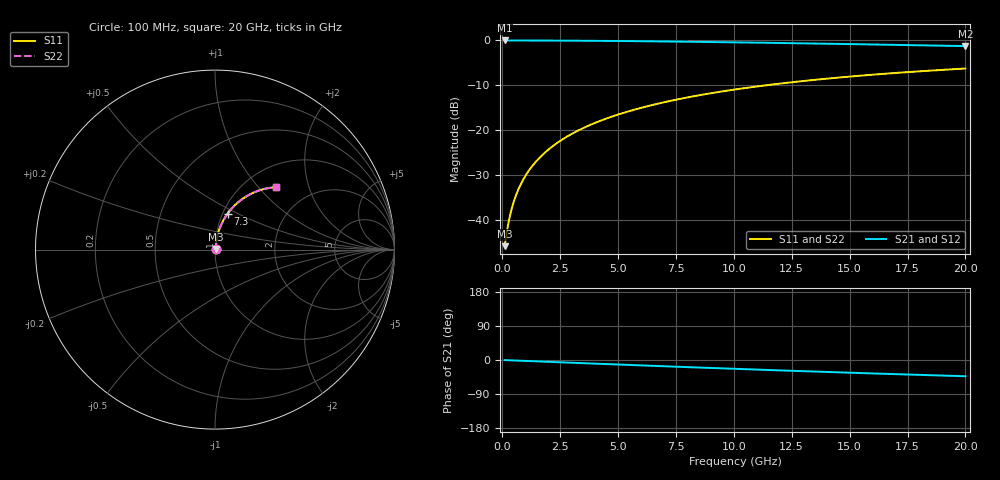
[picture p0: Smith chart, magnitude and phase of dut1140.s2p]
! Touchstone file exported from HFSS 2026.1.0
!  File:  C:/ffzhzh/LocalFiles/Ansys_Project_Files/temp_train_BSMRDL_1140_1783175452_51560.aedt
!  Generated:  10:32:05 PM Jul  4, 2026
!  Design:  BSMRDL
!  Project:  temp_train_BSMRDL_1140_1783175452_51560
! Variables:
!  h_bsmrdl = 3.72um
!  h_ox = 20um
!  h_rdl = 5um
!  h_sub = 80um
!  h_tmrdl = 5um
!  h_tsv = 80um
!  h_via = 3um
!  l_bsmrdl = 553.95um
!  l_sub = 953.95um
!  l_tmrdl = 200um
!  m_sub = 200um
!  pitch = 51.57um
!  r_tsv = 6um
!  s_tmrdl = 10um
!  w_bsmrdl = 13.29um
!  w_sub = 500um
!  w_tmrdl = 12um
!  x_tsv_center1 = 206um
!  x_tsv_center2 = 773.24um
!  x_tsv_center3 = 985.24um
!  x_tsv_center4 = 1552.48um
!  x_tsv_center5 = 1764.48um
!  x_tsv_center6 = 2331.72um
# GHz S MA R 50.000000
! Terminal data exported
! Port[1] = BSM_RDL1_1_T1
! Port[2] = BSM_RDL1_1_T2
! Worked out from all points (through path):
!   200 points, 100 MHz to 20 GHz, reference 50 ohm
!   highest |S21| = -0.04 dB at 100 MHz (marker M1); lowest = -1.3 dB at 20 GHz (marker M2)
!   group delay of S21, straight-line fit = 5.97 ps
!   lowest |S11| = -45.8 dB at 100 MHz (marker M3), VSWR 1.01, Z = 50.4 + j0.319 ohm
!   |S11| at or under -10 dB: start of sweep to 11.39 GHz
!   |S22| runs from -45.8 to -6.3 dB; largest |S21 - S12| = 2.8e-15
!   S11 on the Smith chart (normalised r, x): 100 MHz: 1.01, +0.01; 7.3 GHz: 1.06, +0.45; 20 GHz: 1.37, +1.25
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0.1  0.005147 38.0  0.996 -0.2  0.996 -0.2  0.005147 38.0
! Gamma 0 0 0 0
! Port Impedance 50 0 50 0
0.2  0.007558 56.6  0.9959 -0.5  0.9959 -0.5  0.007558 56.6
0.3  0.01036 65.4  0.9958 -0.7  0.9958 -0.7  0.01036 65.4
0.4  0.01328 70.2  0.9956 -1.0  0.9956 -1.0  0.01328 70.2
0.5  0.01623 73.1  0.9955 -1.2  0.9955 -1.2  0.01623 73.1
0.6  0.01921 75.1  0.9954 -1.5  0.9954 -1.5  0.01921 75.1
0.8  0.02518 77.6  0.9951 -2.0  0.9951 -2.0  0.02518 77.6
1.1  0.03417 79.4  0.9947 -2.7  0.9947 -2.7  0.03417 79.4
1.5  0.04619 80.3  0.9941 -3.6  0.9941 -3.6  0.04619 80.3
1.8  0.05521 80.5  0.9935 -4.4  0.9935 -4.4  0.05521 80.5
2.1  0.06422 80.4  0.9929 -5.1  0.9929 -5.1  0.06422 80.4
2.7  0.08216 79.7  0.9913 -6.5  0.9913 -6.5  0.08217 79.7
3.5  0.1059 78.4  0.9887 -8.4  0.9887 -8.4  0.1059 78.4
4.2  0.1264 77.1  0.9859 -10.1  0.9859 -10.1  0.1264 77.1
5  0.1494 75.5  0.9822 -12.0  0.9822 -12.0  0.1494 75.5
6.8  0.1997 71.7  0.9721 -16.1  0.9721 -16.1  0.1997 71.7
7.3  0.2132 70.6  0.969 -17.2  0.969 -17.2  0.2132 70.6
8.6  0.2475 67.8  0.9601 -20.2  0.9601 -20.2  0.2475 67.8
10.1  0.2853 64.6  0.9489 -23.4  0.9489 -23.4  0.2853 64.6
13.4  0.3615 57.9  0.9215 -30.3  0.9215 -30.3  0.3616 57.9
16.7  0.4282 51.6  0.8921 -36.8  0.8921 -36.8  0.4282 51.6
20  0.4854 45.7  0.8622 -42.9  0.8622 -42.9  0.4854 45.7
